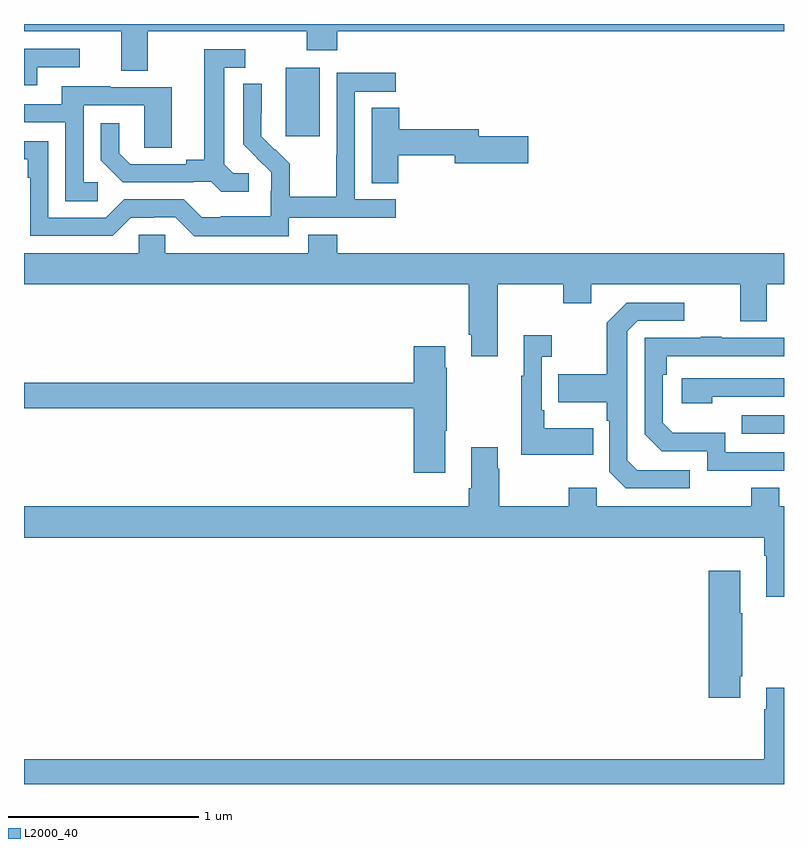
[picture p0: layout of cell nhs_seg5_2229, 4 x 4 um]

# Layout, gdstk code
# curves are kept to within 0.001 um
import gdstk
lib = gdstk.Library(unit=1e-6, precision=1e-09)
def R(c, l, rs):  # rectangles x0, y0, x1, y1
    for r in rs: c.add(gdstk.rectangle(r[:2], r[2:], *l))
def P(c, l, *ps):  # polygons
    for p in ps: c.add(gdstk.Polygon(p, *l))
L2000_40 = (2000, 40)

nhs_seg5_2229 = lib.new_cell('nhs_seg5_2229')
R(nhs_seg5_2229, L2000_40, [(244.777,854.643,245,854.739), (242.378,856.209,242.557,856.57)])
P(nhs_seg5_2229, L2000_40, [(241.651,856.76),(242.488,856.76),(242.488,856.661),(242.648,856.661),(242.648,856.76),(245,856.76),(245,856.799),(241,856.799),(241,856.76),(241.511,856.76),(241.511,856.552),(241.651,856.552)],
  [(241.069,856.572),(241.294,856.572),(241.294,856.668),(241,856.668),(241,856.476),(241.069,856.476)],
  [(242.182,856.014),(242.1,856.014),(242.053,856.061),(242.053,856.569),(242.164,856.569),(242.164,856.665),(241.949,856.665),(241.949,856.085),(241.853,856.085),(241.853,856.062),(241.558,856.062),(241.501,856.119),(241.501,856.276),(241.404,856.276),(241.404,856.082),(241.52,855.966),(241.892,855.966),(241.892,855.969),(241.986,855.969),(242.038,855.917),(242.182,855.917)],
  [(242.394,855.78),(242.956,855.78),(242.956,855.876),(242.742,855.876),(242.742,856.443),(242.956,856.443),(242.956,856.542),(242.646,856.542),(242.646,856.112),(242.644,856.112),(242.644,855.889),(242.399,855.889),(242.399,856.063),(242.322,856.14),(242.319,856.137),(242.249,856.208),(242.25,856.484),(242.154,856.484),(242.154,856.166),(242.3,856.018),(242.3,855.921),(242.298,855.921),(242.298,855.787),(242.035,855.787),(242.035,855.783),(241.935,855.783),(241.842,855.876),(241.527,855.876),(241.431,855.78),(241.128,855.78),(241.128,856.182),(241,856.182),(241,856.086),(241.019,856.086),(241.019,855.989),(241.032,855.989),(241.032,855.684),(241.467,855.684),(241.563,855.78),(241.682,855.78),(241.682,855.783),(241.797,855.783),(241.897,855.683),(242.394,855.683)],
  [(241.387,855.966),(241.314,855.966),(241.314,856.371),(241.632,856.371),(241.632,856.147),(241.777,856.147),(241.777,856.467),(241.453,856.467),(241.453,856.471),(241.199,856.471),(241.199,856.377),(241,856.377),(241,856.281),(241.218,856.281),(241.218,855.865),(241.387,855.865)],
  [(242.97,856.108),(243.266,856.108),(243.266,856.066),(243.655,856.066),(243.655,856.208),(243.394,856.208),(243.394,856.244),(242.975,856.244),(242.975,856.358),(242.831,856.358),(242.831,855.961),(242.97,855.961)],
  [(243.493,855.428),(243.838,855.428),(243.838,855.329),(243.985,855.329),(243.985,855.428),(244.769,855.428),(244.769,855.234),(244.909,855.234),(244.909,855.428),(245,855.428),(245,855.592),(242.648,855.592),(242.648,855.691),(242.495,855.691),(242.495,855.592),(241.743,855.592),(241.743,855.69),(241.605,855.69),(241.605,855.592),(241,855.592),(241,855.428),(243.341,855.428),(243.341,855.163),(243.353,855.163),(243.353,855.051),(243.493,855.051)],
  [(244.504,854.451),(244.227,854.451),(244.176,854.502),(244.176,855.183),(244.23,855.237),(244.474,855.237),(244.474,855.333),(244.173,855.333),(244.068,855.227),(244.068,854.955),(243.811,854.955),(243.811,854.807),(244.068,854.807),(244.068,854.711),(244.08,854.711),(244.08,854.442),(244.167,854.355),(244.504,854.355)],
  [(243.995,854.671),(243.739,854.671),(243.739,854.767),(243.726,854.767),(243.726,855.047),(243.778,855.047),(243.778,855.16),(243.629,855.16),(243.629,854.947),(243.618,854.947),(243.618,854.531),(243.995,854.531)],
  [(245,854.544),(244.692,854.544),(244.692,854.647),(244.415,854.647),(244.362,854.7),(244.362,854.954),(244.382,854.954),(244.382,855.051),(245,855.051),(245,855.147),(244.673,855.147),(244.673,855.152),(244.561,855.152),(244.561,855.147),(244.266,855.147),(244.266,854.64),(244.356,854.55),(244.596,854.55),(244.596,854.448),(245,854.448)],
  [(243.217,854.659),(243.225,854.659),(243.225,854.99),(243.217,854.99),(243.217,855.103),(243.05,855.103),(243.05,854.912),(241,854.912),(241,854.776),(243.05,854.776),(243.05,854.436),(243.217,854.436)],
  [(244.622,854.838),(245,854.838),(245,854.934),(244.461,854.934),(244.461,854.804),(244.622,854.804)],
  [(245,854.26),(244.975,854.26),(244.975,854.359),(244.828,854.359),(244.828,854.26),(244.014,854.26),(244.014,854.359),(243.868,854.359),(243.868,854.26),(243.501,854.26),(243.501,854.459),(243.493,854.459),(243.493,854.572),(243.353,854.572),(243.353,854.356),(243.341,854.356),(243.341,854.26),(241,854.26),(241,854.096),(244.895,854.096),(244.895,854),(244.907,854),(244.907,853.785),(245,853.785)],
  [(244.771,853.366),(244.779,853.366),(244.779,853.697),(244.771,853.697),(244.771,853.921),(244.604,853.921),(244.604,853.254),(244.771,853.254)],
  [(241,852.799),(245,852.799),(245,853.306),(244.907,853.306),(244.907,853.193),(244.895,853.193),(244.895,852.928),(241,852.928)])

lib.write_gds('nhs_seg5_2229.gds')
